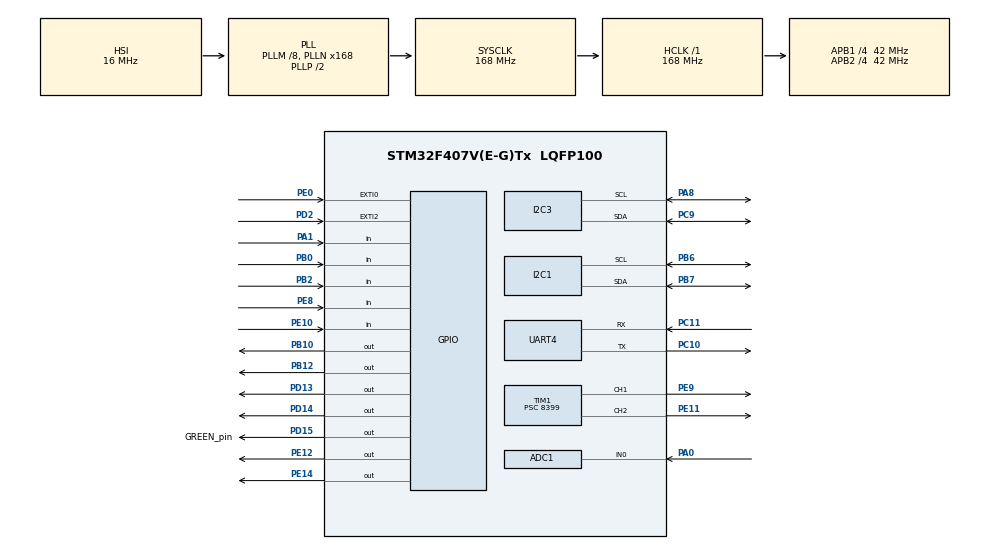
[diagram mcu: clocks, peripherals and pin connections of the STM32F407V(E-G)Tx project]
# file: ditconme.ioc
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ADC1.Channel-0\#ChannelRegularConversion=ADC_CHANNEL_0
ADC1.ContinuousConvMode=ENABLE
ADC1.NbrOfConversionFlag=1
ADC1.Rank-0\#ChannelRegularConversion=1
ADC1.SamplingTime-0\#ChannelRegularConversion=ADC_SAMPLETIME_144CYCLES
ADC1.master=1
Mcu.Family=STM32F4
Mcu.Name=STM32F407V(E-G)Tx
Mcu.Package=LQFP100
NVIC.ADC_IRQn=true\:0\:0\:false\:false\:true\:true\:true
NVIC.EXTI0_IRQn=true\:1\:0\:true\:false\:true\:true\:true
NVIC.EXTI2_IRQn=true\:2\:0\:true\:false\:true\:true\:true
NVIC.PriorityGroup=NVIC_PRIORITYGROUP_4
NVIC.UART4_IRQn=true\:0\:0\:false\:false\:true\:true\:true
PA0-WKUP.Signal=ADCx_IN0
PA1.Signal=GPIO_Input
PA13.Mode=Serial_Wire
PA13.Signal=SYS_JTMS-SWDIO
PA14.Mode=Serial_Wire
PA14.Signal=SYS_JTCK-SWCLK
PA8.Mode=I2C
PA8.Signal=I2C3_SCL
PB0.GPIO_Mode=GPIO_MODE_INPUT
PB0.GPIO_PuPd=GPIO_PULLUP
PB0.Signal=GPIO_Input
PB10.GPIO_ModeDefaultOutputPP=GPIO_MODE_OUTPUT_PP
PB10.GPIO_PuPd=GPIO_NOPULL
PB10.GPIO_Speed=GPIO_SPEED_FREQ_LOW
PB10.PinState=GPIO_PIN_SET
PB10.Signal=GPIO_Output
PB12.GPIO_ModeDefaultOutputPP=GPIO_MODE_OUTPUT_PP
PB12.GPIO_PuPd=GPIO_NOPULL
PB12.GPIO_Speed=GPIO_SPEED_FREQ_LOW
PB12.PinState=GPIO_PIN_SET
PB12.Signal=GPIO_Output
PB2.GPIO_Mode=GPIO_MODE_INPUT
PB2.GPIO_PuPd=GPIO_PULLUP
PB2.Signal=GPIO_Input
PB6.Mode=I2C
PB6.Signal=I2C1_SCL
PB7.Mode=I2C
PB7.Signal=I2C1_SDA
PC10.Mode=Asynchronous
PC10.Signal=UART4_TX
PC11.Mode=Asynchronous
PC11.Signal=UART4_RX
PC9.Mode=I2C
PC9.Signal=I2C3_SDA
PD13.Signal=GPIO_Output
PD14.Signal=GPIO_Output
PD15.GPIO_Label=GREEN_pin
PD15.Signal=GPIO_Output
PD2.GPIO_PuPd=GPIO_PULLDOWN
PD2.Signal=GPXTI2
PE0.Signal=GPXTI0
PE10.GPIO_Mode=GPIO_MODE_INPUT
PE10.GPIO_PuPd=GPIO_PULLUP
PE10.Signal=GPIO_Input
PE11.Signal=S_TIM1_CH2
PE12.GPIO_ModeDefaultOutputPP=GPIO_MODE_OUTPUT_PP
PE12.GPIO_PuPd=GPIO_NOPULL
PE12.GPIO_Speed=GPIO_SPEED_FREQ_LOW
PE12.PinState=GPIO_PIN_SET
PE12.Signal=GPIO_Output
PE14.GPIO_ModeDefaultOutputPP=GPIO_MODE_OUTPUT_PP
PE14.GPIO_PuPd=GPIO_NOPULL
PE14.GPIO_Speed=GPIO_SPEED_FREQ_LOW
PE14.PinState=GPIO_PIN_SET
PE14.Signal=GPIO_Output
PE8.GPIO_Mode=GPIO_MODE_INPUT
PE8.GPIO_PuPd=GPIO_PULLUP
PE8.Signal=GPIO_Input
PE9.Signal=S_TIM1_CH1
PH0-OSC_IN.Mode=HSE-External-Oscillator
PH0-OSC_IN.Signal=RCC_OSC_IN
PH1-OSC_OUT.Mode=HSE-External-Oscillator
PH1-OSC_OUT.Signal=RCC_OSC_OUT
ProjectManager.HeapSize=0x200
ProjectManager.StackSize=0x400
ProjectManager.TargetToolchain=MDK-ARM V5
RCC.48MHZClocksFreq_Value=84000000
RCC.AHBFreq_Value=168000000
RCC.APB1CLKDivider=RCC_HCLK_DIV4
RCC.APB1Freq_Value=42000000
RCC.APB1TimFreq_Value=84000000
RCC.APB2CLKDivider=RCC_HCLK_DIV4
RCC.APB2Freq_Value=42000000
RCC.APB2TimFreq_Value=84000000
RCC.CortexFreq_Value=168000000
RCC.HCLKFreq_Value=168000000
RCC.HSE_VALUE=8000000
RCC.HSI_VALUE=16000000
RCC.LSE_VALUE=32768
RCC.PLLM=8
RCC.PLLN=168
RCC.SYSCLKFreq_VALUE=168000000
RCC.SYSCLKSource=RCC_SYSCLKSOURCE_PLLCLK
RCC.VCOOutputFreq_Value=336000000
SH.ADCx_IN0.0=ADC1_IN0,IN0
SH.S_TIM1_CH1.0=TIM1_CH1,PWM Generation1 CH1
SH.S_TIM1_CH2.0=TIM1_CH2,PWM Generation2 CH2
TIM1.Channel-PWM\ Generation1\ CH1=TIM_CHANNEL_1
TIM1.Channel-PWM\ Generation2\ CH2=TIM_CHANNEL_2
TIM1.Period=199
TIM1.Prescaler=8399
UART4.VirtualMode=Asynchronous
VP_TIM1_VS_ClockSourceINT.Mode=Internal
board=custom

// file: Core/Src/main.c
/* USER CODE BEGIN Header */
/**
  ******************************************************************************
  * @file           : main.c
  * @brief          : Main program body
  ******************************************************************************
  * @attention
  *
  * <h2><center>&copy; Copyright (c) 2024 STMicroelectronics.
  * All rights reserved.</center></h2>
  *
  * This software component is licensed by ST under BSD 3-Clause license,
  * the "License"; You may not use this file except in compliance with the
  * License. You may obtain a copy of the License at:
  *                        opensource.org/licenses/BSD-3-Clause
  *
  ******************************************************************************
  */
/* USER CODE END Header */
#include "main.h"

/* USER CODE BEGIN Includes */
#include "stdio.h"
#include "string.h"
#define device_id 0x27<<1
int DHT11_check = 1; // Kiem tra, khoi tao qua trinh doc, setup = 1
uint8_t do_am_byte1, do_am_byte2, temperature_byte1, temperature_byte2; // Luu tru du lieu doc tu DHT11
uint16_t sum; //, temperature, humidity, temperature_sau_dau_phay, humidity_sau_dau_phay; // temperature, humidity co 16 byte theo datasheet
uint8_t test=0; // Bien luu trang thai kiem tra
int temperature, humidity, temperature_sau_dau_phay, humidity_sau_dau_phay;
char lcd_buffer [16];
//int dem=0;
uint8_t check;
uint8_t cnt=0;
// Khai bao cho LCD
uint16_t ADC_val=0;
uint8_t dem=0, check_esp=0;
uint8_t dem1=0;
uint8_t dung=0;
uint8_t check=0;
uint8_t check_new=0;
char mang[10];
char matkhau[10] = {1,2,5,4};
char matkhau_moi[10];
volatile uint8_t kiemtra=0;
char hi[30];
/* USER CODE END Includes */

ADC_HandleTypeDef hadc1;

I2C_HandleTypeDef hi2c1;
I2C_HandleTypeDef hi2c3;

TIM_HandleTypeDef htim1;

UART_HandleTypeDef huart4;

void SystemClock_Config(void);
static void MX_GPIO_Init(void);
static void MX_ADC1_Init(void);
static void MX_I2C1_Init(void);
static void MX_UART4_Init(void);
static void MX_I2C3_Init(void);
static void MX_TIM1_Init(void);
/* USER CODE BEGIN PFP */
uint8_t send_servo(uint8_t goc) {
    if (goc > 180) goc = 180;  // Gi?i h?n góc t?i da
    float xung = 0.5 + (2.5 - 0.5) * ((float)goc / 180.0);  // Tính th?i gian xung (ms)
    float duty = (xung / 20.0) * 200.0;  // Chuy?n d?i sang duty cycle, 200 là giá tr? max c?a Timer
    return (uint8_t)(duty + 0.5);  // Làm tròn tru?c khi ép ki?u
}
/* USER CODE END PFP */

/* USER CODE BEGIN 0 */
void delay_us(uint32_t n){
	volatile uint32_t delay = 24*n;
	volatile uint32_t delayy;
	for(delayy=0; delayy<delay; delayy++);
}

void delay_ms(uint32_t n){
	volatile uint32_t delay;
	volatile uint32_t delayy;
//	for(delayy=0; delayy<delay; delay++);

	for(delayy = 0;delayy<n;delayy++){for(volatile uint32_t dl = 0; dl < 24000; dl++);}
}
GPIO_InitTypeDef GPIO_InitStruct;
void Set_pin_out(){
  GPIO_InitStruct.Pin = GPIO_PIN_1;
  GPIO_InitStruct.Mode = GPIO_MODE_OUTPUT_PP;
	GPIO_InitStruct.Speed = GPIO_SPEED_FREQ_LOW;
  HAL_GPIO_Init(GPIOA, &GPIO_InitStruct);
}
void Set_pin_in(){
  GPIO_InitStruct.Pin = GPIO_PIN_1;
  GPIO_InitStruct.Mode = GPIO_MODE_INPUT;
  GPIO_InitStruct.Pull = GPIO_NOPULL;
  HAL_GPIO_Init(GPIOA, &GPIO_InitStruct);
}
void DHT11_start(void){
	Set_pin_out();
	HAL_GPIO_WritePin(GPIOA,GPIO_PIN_1,0); //Dua tin hieu xg muc thap
	delay_ms(18);
	Set_pin_in();
}
void check_reponse(void){
	test=0;
	delay_us(40);
	if(HAL_GPIO_ReadPin(GPIOA,GPIO_PIN_1) == 0){
		delay_us(80);
		if(HAL_GPIO_ReadPin(GPIOA,GPIO_PIN_1) == 1){
			test=1;
		}
	}
	while(HAL_GPIO_ReadPin(GPIOA,GPIO_PIN_1) == 1); // Cho tin hieu ve muc thap
}
uint8_t read_data ()
{
	uint8_t i=0,j;
	for (j=0;j<8;j++)
	{
		while ((HAL_GPIO_ReadPin (GPIOA, GPIO_PIN_1)) == 0);   // Cho muc cao
		delay_us (40);
//		if ((HAL_GPIO_ReadPin (GPIOA, GPIO_PIN_1)) == 0)
//		{
//			i&= ~(1<<(7-j));
//		}
//		else i|= (1<<(7-j));  // Neu pin cao thi set 1,
		if ((HAL_GPIO_ReadPin (GPIOA, GPIO_PIN_1)) == 1){
			i|= (1<<(7-j));
		}
		while ((HAL_GPIO_ReadPin (GPIOA, GPIO_PIN_1)));  //
	}
	return i;
}

// Code cho LCD i2c

void lcd_i2c_send_cmd(uint8_t data){
	uint8_t buf[4] = {(data&0xf0)|0x0c , (data&0xf0)|0x08, (data<<4)|0x0c, (data<<4)|0x08};
	HAL_I2C_Master_Transmit(&hi2c1,device_id,buf,sizeof(buf), 10);
	HAL_I2C_Master_Transmit(&hi2c3,device_id,buf,sizeof(buf), 10);
}
void lcd_i2c_send_cmd1(uint8_t data){
	uint8_t buf[4] = {(data&0xf0)|0x0c , (data&0xf0)|0x08, (data<<4)|0x0c, (data<<4)|0x08};
	HAL_I2C_Master_Transmit(&hi2c3,device_id,buf,sizeof(buf), 10);
}

void lcd_init(){
	lcd_i2c_send_cmd(0x33);
	lcd_i2c_send_cmd(0x32);
	lcd_i2c_send_cmd(0x28);
	lcd_i2c_send_cmd(0x0c);
	lcd_i2c_send_cmd(0x06);
	lcd_i2c_send_cmd(0x01); // Day la lenh xoa man hinh
	//lcd_i2c_send_cmd(0x08); // Bat sang LCD
	lcd_i2c_send_cmd1(0x33);
	lcd_i2c_send_cmd1(0x32);
	lcd_i2c_send_cmd1(0x28);
	lcd_i2c_send_cmd1(0x0c);
	lcd_i2c_send_cmd1(0x06);
	lcd_i2c_send_cmd1(0x01);
	delay_ms(15);
}

void lcd_i2c_send_data(uint8_t data){
	uint8_t buf[4] = {(data & 0xF0) | 0x0D, (data & 0xF0) | 0x09, (data << 4) | 0x0D, (data << 4) | 0x09};
	HAL_I2C_Master_Transmit(&hi2c1, device_id, buf, sizeof(buf), 10);
	delay_ms(2);
}

void lcd_i2c_send_data1(uint8_t data){
	uint8_t buf[4] = {(data & 0xF0) | 0x0D, (data & 0xF0) | 0x09, (data << 4) | 0x0D, (data << 4) | 0x09};
	HAL_I2C_Master_Transmit(&hi2c3,device_id,buf,sizeof(buf), 10);
	delay_ms(2);
}

void lcd_i2c_clear(){
	lcd_i2c_send_cmd(0x01);
	delay_ms(5);
}

void lcd_i2c_clear1(){
	lcd_i2c_send_cmd1(0x01);
	delay_ms(5);
}

void lcd_i2c_set_cs(int x, int y){
	if(x==0){
		lcd_i2c_send_cmd(0x80 + y);
	}else
	if(x==1){
		lcd_i2c_send_cmd(0xC0 + y);
	}
}

void lcd_i2c_set_cs1(int x, int y){
	if(x==0){
		lcd_i2c_send_cmd1(0x80 + y);
	}else
	if(x==1){
		lcd_i2c_send_cmd1(0xC0 + y);
	}
}

void lcd_i2c_send_string(char *string){
	for(int i=0; i<strlen(string); i++){
		lcd_i2c_send_data(string[i]);
	}
}

void lcd_i2c_send_string1(char *string){
	for(int i=0; i<strlen(string); i++){
		lcd_i2c_send_data1(string[i]);
	}
}

void lcd_i2c_send_num(int num){
	char buff[8];
	sprintf(buff, "%d", num);
	lcd_i2c_send_string(buff);
}

void lcd_i2c_send_num1(int num){
	char buff[8];
	sprintf(buff, "%d", num);
	lcd_i2c_send_string1(buff);
}

void lcd_i2c_backlight_on() {
    uint8_t data = 0x08; // B?t backlight
    HAL_I2C_Master_Transmit(&hi2c1, device_id, &data, 1, 10);
}

void lcd_i2c_backlight_off() {
    uint8_t data = 0x00; // B?t backlight
    HAL_I2C_Master_Transmit(&hi2c1, device_id, &data, 1, 10);
}

// KEYPAD

void kiemtra_matkhau(void);
void doi_matkhau(void);
void test_keypad(){
	HAL_GPIO_WritePin(GPIOE, GPIO_PIN_12, GPIO_PIN_RESET);
	// Kiem tra cot 1
	if(HAL_GPIO_ReadPin(GPIOB, GPIO_PIN_0) == 0){
		HAL_Delay(10);
		while(HAL_GPIO_ReadPin(GPIOB, GPIO_PIN_0) == 0);
		mang[dem]=1;
		sprintf(hi, "%d", mang[dem]);
		lcd_i2c_set_cs1(1,dem);
		lcd_i2c_send_string1(hi);
		delay_ms(200);
		lcd_i2c_set_cs1(1,dem);
		lcd_i2c_send_string1("*");
		dem++;
	}
	if(HAL_GPIO_ReadPin(GPIOB, GPIO_PIN_2) == 0){
		HAL_Delay(10);
		while(HAL_GPIO_ReadPin(GPIOB, GPIO_PIN_2) == 0);
		mang[dem]=4;
		sprintf(hi, "%d", mang[dem]);
		lcd_i2c_set_cs1(1,dem);
		lcd_i2c_send_string1(hi);
		delay_ms(200);
		lcd_i2c_set_cs1(1,dem);
		lcd_i2c_send_string1("*");
		dem++;
	}
	if(HAL_GPIO_ReadPin(GPIOE, GPIO_PIN_8) == 0){
		HAL_Delay(10);
		while(HAL_GPIO_ReadPin(GPIOE, GPIO_PIN_8) == 0);
		mang[dem]=7;
		sprintf(hi, "%d", mang[dem]);
		lcd_i2c_set_cs1(1,dem);
		lcd_i2c_send_string1(hi);
		delay_ms(200);
		lcd_i2c_set_cs1(1,dem);
		lcd_i2c_send_string1("*");
		dem++;
	}
	if(HAL_GPIO_ReadPin(GPIOE, GPIO_PIN_10) == 0){
		HAL_Delay(10);
		while(HAL_GPIO_ReadPin(GPIOE, GPIO_PIN_10) == 0);
		if (dem > 0) {
			dem--;
      mang[dem] = '\0';  // Xóa ký t? cu?i trong m?ng

//            HD44780_SetCursor(dem, 1);  // Di chuy?n con tr?
//            HD44780_PrintStr(" ");  // Xóa ký t? trên màn hình
//            HD44780_SetCursor(dem, 1);  // Ð?t con tr? l?i
			lcd_i2c_set_cs1(1,dem);
			lcd_i2c_send_string1(" ");
			lcd_i2c_set_cs1(1,dem);
     }
	}
	HAL_GPIO_WritePin(GPIOE, GPIO_PIN_12, 1);

	// Kiem tra cot 2
	HAL_GPIO_WritePin(GPIOE, GPIO_PIN_14, 0);
	if(HAL_GPIO_ReadPin(GPIOB, GPIO_PIN_0) == 0){
		HAL_Delay(10);
		while(HAL_GPIO_ReadPin(GPIOB, GPIO_PIN_0) == 0);
		mang[dem]=2;
		sprintf(hi, "%d", mang[dem]);
		lcd_i2c_set_cs1(1,dem);
		lcd_i2c_send_string1(hi);
		delay_ms(200);
		lcd_i2c_set_cs1(1,dem);
		lcd_i2c_send_string1("*");
		dem++;
	}
	if(HAL_GPIO_ReadPin(GPIOB, GPIO_PIN_2) == 0){
		HAL_Delay(10);
		while(HAL_GPIO_ReadPin(GPIOB, GPIO_PIN_2) == 0);
		mang[dem]=5;
		sprintf(hi, "%d", mang[dem]);
		lcd_i2c_set_cs1(1,dem);
		lcd_i2c_send_string1(hi);
		delay_ms(200);
		lcd_i2c_set_cs1(1,dem);
		lcd_i2c_send_string1("*");
		dem++;
	}
	if(HAL_GPIO_ReadPin(GPIOE, GPIO_PIN_8) == 0){
		HAL_Delay(10);
		while(HAL_GPIO_ReadPin(GPIOE, GPIO_PIN_8) == 0);
		mang[dem]=8;
		sprintf(hi, "%d", mang[dem]);
		lcd_i2c_set_cs1(1,dem);
		lcd_i2c_send_string1(hi);
		delay_ms(200);
		lcd_i2c_set_cs1(1,dem);
		lcd_i2c_send_string1("*");
		dem++;
	}
	if(HAL_GPIO_ReadPin(GPIOE, GPIO_PIN_10) == 0){
		HAL_Delay(10);
		while(HAL_GPIO_ReadPin(GPIOE, GPIO_PIN_8) == 0);
		mang[dem]=0;
		sprintf(hi, "%d", mang[dem]);
		lcd_i2c_set_cs1(1,dem);
		lcd_i2c_send_string1(hi);
		delay_ms(200);
		lcd_i2c_set_cs1(1,dem);
		lcd_i2c_send_string1("*");
		dem++;
	}
	HAL_GPIO_WritePin(GPIOE, GPIO_PIN_14, 1);

	// Kiem tra cot 3
	HAL_GPIO_WritePin(GPIOB, GPIO_PIN_10, 0);
	if(HAL_GPIO_ReadPin(GPIOB, GPIO_PIN_0) == 0){
		HAL_Delay(10);
		while(HAL_GPIO_ReadPin(GPIOB, GPIO_PIN_0) == 0);
		mang[dem]=3;
		sprintf(hi, "%d", mang[dem]);
		lcd_i2c_set_cs(1,dem);
		lcd_i2c_send_string1(hi);
		delay_ms(200);
		lcd_i2c_set_cs1(1,dem);
		lcd_i2c_send_string1("*");
		dem++;
	}
	if(HAL_GPIO_ReadPin(GPIOB, GPIO_PIN_2) == 0){
		HAL_Delay(10);
		while(HAL_GPIO_ReadPin(GPIOB, GPIO_PIN_2) == 0);
		mang[dem]=6;
		sprintf(hi, "%d", mang[dem]);
		lcd_i2c_set_cs(1,dem);
		lcd_i2c_send_string1(hi);
		delay_ms(200);
		lcd_i2c_set_cs1(1,dem);
		lcd_i2c_send_string1("*");
		dem++;
	}
	if(HAL_GPIO_ReadPin(GPIOE, GPIO_PIN_8) == 0){
		HAL_Delay(10);
		while(HAL_GPIO_ReadPin(GPIOE, GPIO_PIN_8) == 0);
		mang[dem]=9;
		sprintf(hi, "%d", mang[dem]);
		lcd_i2c_set_cs(1,dem);
		lcd_i2c_send_string1(hi);
		delay_ms(200);
		lcd_i2c_set_cs1(1,dem);
		lcd_i2c_send_string1("*");
		dem++;
	}
	if(HAL_GPIO_ReadPin(GPIOE, GPIO_PIN_10) == 0){
		HAL_Delay(10);
		while(HAL_GPIO_ReadPin(GPIOE, GPIO_PIN_8) == 0);
		kiemtra_matkhau();
	}
	HAL_GPIO_WritePin(GPIOB, GPIO_PIN_10, 1);

	// Kiem tra cot 4
	HAL_GPIO_WritePin(GPIOB, GPIO_PIN_12, 0);
	if(HAL_GPIO_ReadPin(GPIOE, GPIO_PIN_10) == 0){
		HAL_Delay(10);
		while(HAL_GPIO_ReadPin(GPIOE, GPIO_PIN_10) == 0);
		__HAL_TIM_SET_COMPARE(&htim1, TIM_CHANNEL_1, send_servo(180));
		delay_ms(600);
	}
	if(HAL_GPIO_ReadPin(GPIOB, GPIO_PIN_0) == 0){
		HAL_Delay(10);
		while(HAL_GPIO_ReadPin(GPIOB, GPIO_PIN_0) == 0);
		doi_matkhau();
	}
	HAL_GPIO_WritePin(GPIOB, GPIO_PIN_12, 1);

}

void kiemtra_matkhau(){
    check = 0;
    char vc[20];
    lcd_i2c_clear1();
		lcd_i2c_send_string1("HAY NHAP PASS:");

    if (kiemtra <= 3) {
        for (int i = 0; i < 10; i++) {
            if (mang[i] != matkhau[i]) {
                check++;
                break;
            }
        }
        if (check != 0) {
            kiemtra++;
						lcd_i2c_set_cs1(0,0);
						lcd_i2c_send_string1("Sai mat khau");
            sprintf(vc, "Ban con %d co hoi", 4 - kiemtra);
						lcd_i2c_set_cs1(0,1);
						lcd_i2c_send_string1(vc);
            HAL_GPIO_WritePin(GPIOD,GPIO_PIN_14,GPIO_PIN_RESET);
            dem = 0;
            memset(mang, 0, sizeof(mang));
            HAL_Delay(100);
						lcd_i2c_clear1();
						lcd_i2c_set_cs1(0,0);
						lcd_i2c_send_string1("Nhap lai mat khau");
						delay_ms(500);
						lcd_i2c_clear1();
						lcd_i2c_send_string1("HAY NHAP PASS:");
        } else {
            kiemtra = 0;
						lcd_i2c_clear1();
						lcd_i2c_set_cs1(0,0);
						lcd_i2c_send_string1("Dung mat khau");

            dem = 0;
            memset(mang, 0, sizeof(mang));

            delay_ms(200);  // Hi?n th? thông báo m?t lúc tru?c khi xóa
						lcd_i2c_clear1();
						lcd_i2c_set_cs1(0,0);
						lcd_i2c_send_string1("OPEN THE DOOR");
						__HAL_TIM_SET_COMPARE(&htim1, TIM_CHANNEL_1, send_servo(180));
            delay_ms(700);
						HAL_GPIO_WritePin(GPIOD,GPIO_PIN_14,GPIO_PIN_SET);
						__HAL_TIM_SET_COMPARE(&htim1, TIM_CHANNEL_1, send_servo(0));
						lcd_i2c_set_cs1(1, 1);
						lcd_i2c_send_string1("     WELCOME     ");
						delay_ms(1200);
						lcd_i2c_clear1();
						lcd_i2c_send_string1("HAY NHAP PASS:");
        }
    }
}

void doi_matkhau() {
    char matkhau_nhap[10] = {0};
    char matkhau_moi[10] = {0};
    int check = 0;

    lcd_i2c_clear1();
    lcd_i2c_send_string1("Let's change pass");
    delay_ms(1000);
    lcd_i2c_clear1();

    // Bu?c 1: Ki?m tra m?t kh?u cu
    for (int lan = 1; lan <= 3; lan++) {
        lcd_i2c_send_string1("Nhap mat khau:");

        memset(mang, 0, sizeof(mang)); // Xóa d? li?u cu
        test_keypad(); // Ch? nh?p m?t kh?u

        if (strlen(mang) == 0) { // N?u chua nh?p
            lcd_i2c_send_string1("Chua nhap mat khau");
            delay_ms(1000);
            continue; // Quay l?i vòng l?p
        }

        if (strcmp(mang, matkhau) == 0) { // So sánh m?t kh?u
            check = 1; // Ðúng m?t kh?u
            break;
        } else {
            lcd_i2c_clear1();
            lcd_i2c_send_string1("Sai mat khau");
            char thong_bao[20];
            sprintf(thong_bao, "Con %d co hoi", 3 - lan);
            lcd_i2c_send_string1(thong_bao);
            delay_ms(1000);
        }
    }

    if (check == 0) {
        lcd_i2c_send_string1("Sai qua nhieu!");
        delay_ms(1000);
        return; // K?t thúc n?u nh?p sai quá 3 l?n
    }

    // Bu?c 2: Nh?p m?t kh?u m?i
    lcd_i2c_clear1();
    lcd_i2c_send_string1("Nhap mat khau moi:");
    memset(mang, 0, sizeof(mang));
    test_keypad();
    strncpy(matkhau_moi, mang, 10);

    // Luu m?t kh?u m?i
    strncpy(matkhau, matkhau_moi, 10);

    // Thông báo d?i m?t kh?u thành công
    lcd_i2c_clear1();
    lcd_i2c_send_string1("Da doi mk!");
    delay_ms(1000);
    lcd_i2c_clear1();
}

/* USER CODE END 0 */

int main(void)
{

  /* MCU Configuration--------------------------------------------------------*/

  /* Reset of all peripherals, Initializes the Flash interface and the Systick. */
  HAL_Init();

  /* Configure the system clock */
  SystemClock_Config();

  /* Initialize all configured peripherals */
  MX_GPIO_Init();
  MX_ADC1_Init();
  MX_I2C1_Init();
  MX_UART4_Init();
  MX_I2C3_Init();
  MX_TIM1_Init();
  /* USER CODE BEGIN 2 */
	HAL_TIM_PWM_Start(&htim1, TIM_CHANNEL_1);  // B?t d?u PWM trên chân 1 c?a TIM1
	HAL_TIM_PWM_Start(&htim1, TIM_CHANNEL_2);  // B?t d?u PWM trên chân 1 c?a TIM1
	//HAL_GPIO_WritePin(GPIOD, GPIO_PIN_13, 0);
	char buffer[100],buffer_1[50], buffer_t[17], buffer_h[17];
	lcd_init();
	lcd_i2c_set_cs(0,0);
	lcd_i2c_send_string("HELLO WORLD");
	lcd_i2c_send_string1("HAY NHAP PASS:");
	//lcd_i2c_clear();
  /* USER CODE END 2 */

  /* Infinite loop */
  /* USER CODE BEGIN WHILE */
  while (1)
  {
//		if(HAL_GPIO_ReadPin(GPIOA, GPIO_PIN_15) == 1){
//			while(HAL_GPIO_ReadPin(GPIOA, GPIO_PIN_15));
//			delay_ms(100);
//			__HAL_TIM_SET_COMPARE(&htim1, TIM_CHANNEL_1, send_servo(180));
//			delay_ms(600);
//		}
//		else{
//			delay_ms(200);
//			__HAL_TIM_SET_COMPARE(&htim1, TIM_CHANNEL_1, send_servo(0));
//			delay_ms(600);
//		}

		test_keypad();
		if(DHT11_check==1){
			DHT11_start();
			check_reponse();
			do_am_byte1 = read_data();
			do_am_byte2 = read_data();
			temperature_byte1 = read_data();
			temperature_byte2 = read_data();
			temperature = temperature_byte1;
			temperature_sau_dau_phay = temperature_byte2;
			humidity = do_am_byte1;
			humidity_sau_dau_phay = do_am_byte2;
			sum = read_data();
//			lcd_i2c_clear();
			lcd_i2c_set_cs(0,0);
			sprintf(buffer,"Temp: %d.%d",temperature,temperature_sau_dau_phay);
			lcd_i2c_send_string(buffer);
			sprintf(buffer_t,"%d.%d",temperature,temperature_sau_dau_phay);
			HAL_UART_Transmit(&huart4,(uint8_t *)buffer_t,sizeof(buffer_t),50);
			delay_ms(200);
			lcd_i2c_set_cs(1,0);
			sprintf(buffer_1,"humidity: %d.%d",humidity,humidity_sau_dau_phay);
			lcd_i2c_send_string(buffer_1);
			sprintf(buffer_h,"%d.%d",humidity,humidity_sau_dau_phay);
			HAL_UART_Transmit(&huart4,(uint8_t *)buffer_h,sizeof(buffer_h),50);
			delay_ms(200);
		}
		DHT11_check++;
		if(DHT11_check == 5){
			DHT11_check = 1;
		}

		//Code cam bien quang tro
		HAL_ADC_Start(&hadc1);
		HAL_ADC_PollForConversion(&hadc1, 30);
		ADC_val = HAL_ADC_GetValue(&hadc1);
		HAL_ADC_Stop(&hadc1);
		HAL_GPIO_TogglePin(GPIOD, GREEN_pin_Pin);
		delay_ms(50);
		if(ADC_val <= 2700){
			delay_ms(600);
			__HAL_TIM_SET_COMPARE(&htim1, TIM_CHANNEL_2, send_servo(180));
		}
		else{
			delay_ms(600);
			__HAL_TIM_SET_COMPARE(&htim1, TIM_CHANNEL_2, send_servo(0));
		}
	}
}

    /* USER CODE END WHILE */

    /* USER CODE BEGIN 3 */
void HAL_GPIO_EXTI_Callback(uint16_t GPIO_Pin)
{
  if(GPIO_Pin == GPIO_PIN_0){
		delay_ms(200);
		cnt++;
		if(cnt%2==0){
			HAL_GPIO_TogglePin(GPIOD, GPIO_PIN_13);
		}
	}
	if(GPIO_Pin == GPIO_PIN_2){
		delay_ms(200);
		check_esp++;
		if(check_esp%2!=0){
			__HAL_TIM_SET_COMPARE(&htim1, TIM_CHANNEL_1, send_servo(0));
			delay_ms(600);
		}else{
			__HAL_TIM_SET_COMPARE(&htim1, TIM_CHANNEL_1, send_servo(180));
			delay_ms(600);
		}
	}

  /* USER CODE END 3 */
}

void SystemClock_Config(void)
{
  RCC_OscInitTypeDef RCC_OscInitStruct = {0};
  RCC_ClkInitTypeDef RCC_ClkInitStruct = {0};

  /** Configure the main internal regulator output voltage
  */
  __HAL_RCC_PWR_CLK_ENABLE();
  __HAL_PWR_VOLTAGESCALING_CONFIG(PWR_REGULATOR_VOLTAGE_SCALE1);
  /** Initializes the RCC Oscillators according to the specified parameters
  * in the RCC_OscInitTypeDef structure.
  */
  RCC_OscInitStruct.OscillatorType = RCC_OSCILLATORTYPE_HSI;
  RCC_OscInitStruct.HSIState = RCC_HSI_ON;
  RCC_OscInitStruct.HSICalibrationValue = RCC_HSICALIBRATION_DEFAULT;
  RCC_OscInitStruct.PLL.PLLState = RCC_PLL_ON;
  RCC_OscInitStruct.PLL.PLLSource = RCC_PLLSOURCE_HSI;
  RCC_OscInitStruct.PLL.PLLM = 8;
  RCC_OscInitStruct.PLL.PLLN = 168;
  RCC_OscInitStruct.PLL.PLLP = RCC_PLLP_DIV2;
  RCC_OscInitStruct.PLL.PLLQ = 4;
  if (HAL_RCC_OscConfig(&RCC_OscInitStruct) != HAL_OK)
  {
    Error_Handler();
  }
  /** Initializes the CPU, AHB and APB buses clocks
  */
  RCC_ClkInitStruct.ClockType = RCC_CLOCKTYPE_HCLK|RCC_CLOCKTYPE_SYSCLK
                              |RCC_CLOCKTYPE_PCLK1|RCC_CLOCKTYPE_PCLK2;
  RCC_ClkInitStruct.SYSCLKSource = RCC_SYSCLKSOURCE_PLLCLK;
  RCC_ClkInitStruct.AHBCLKDivider = RCC_SYSCLK_DIV1;
  RCC_ClkInitStruct.APB1CLKDivider = RCC_HCLK_DIV4;
  RCC_ClkInitStruct.APB2CLKDivider = RCC_HCLK_DIV4;

  if (HAL_RCC_ClockConfig(&RCC_ClkInitStruct, FLASH_LATENCY_5) != HAL_OK)
  {
    Error_Handler();
  }
}

static void MX_ADC1_Init(void)
{

  ADC_ChannelConfTypeDef sConfig = {0};

  /** Configure the global features of the ADC (Clock, Resolution, Data Alignment and number of conversion)
  */
  hadc1.Instance = ADC1;
  hadc1.Init.ClockPrescaler = ADC_CLOCK_SYNC_PCLK_DIV2;
  hadc1.Init.Resolution = ADC_RESOLUTION_12B;
  hadc1.Init.ScanConvMode = DISABLE;
  hadc1.Init.ContinuousConvMode = ENABLE;
  hadc1.Init.DiscontinuousConvMode = DISABLE;
  hadc1.Init.ExternalTrigConvEdge = ADC_EXTERNALTRIGCONVEDGE_NONE;
  hadc1.Init.ExternalTrigConv = ADC_SOFTWARE_START;
  hadc1.Init.DataAlign = ADC_DATAALIGN_RIGHT;
  hadc1.Init.NbrOfConversion = 1;
  hadc1.Init.DMAContinuousRequests = DISABLE;
  hadc1.Init.EOCSelection = ADC_EOC_SINGLE_CONV;
  if (HAL_ADC_Init(&hadc1) != HAL_OK)
  {
    Error_Handler();
  }
  /** Configure for the selected ADC regular channel its corresponding rank in the sequencer and its sample time.
  */
  sConfig.Channel = ADC_CHANNEL_0;
  sConfig.Rank = 1;
  sConfig.SamplingTime = ADC_SAMPLETIME_144CYCLES;
  if (HAL_ADC_ConfigChannel(&hadc1, &sConfig) != HAL_OK)
  {
    Error_Handler();
  }

}

static void MX_I2C1_Init(void)
{

  hi2c1.Instance = I2C1;
  hi2c1.Init.ClockSpeed = 100000;
  hi2c1.Init.DutyCycle = I2C_DUTYCYCLE_2;
  hi2c1.Init.OwnAddress1 = 0;
  hi2c1.Init.AddressingMode = I2C_ADDRESSINGMODE_7BIT;
  hi2c1.Init.DualAddressMode = I2C_DUALADDRESS_DISABLE;
  hi2c1.Init.OwnAddress2 = 0;
  hi2c1.Init.GeneralCallMode = I2C_GENERALCALL_DISABLE;
  hi2c1.Init.NoStretchMode = I2C_NOSTRETCH_DISABLE;
  if (HAL_I2C_Init(&hi2c1) != HAL_OK)
  {
    Error_Handler();
  }

}

static void MX_I2C3_Init(void)
{

  hi2c3.Instance = I2C3;
  hi2c3.Init.ClockSpeed = 100000;
  hi2c3.Init.DutyCycle = I2C_DUTYCYCLE_2;
  hi2c3.Init.OwnAddress1 = 0;
  hi2c3.Init.AddressingMode = I2C_ADDRESSINGMODE_7BIT;
  hi2c3.Init.DualAddressMode = I2C_DUALADDRESS_DISABLE;
  hi2c3.Init.OwnAddress2 = 0;
  hi2c3.Init.GeneralCallMode = I2C_GENERALCALL_DISABLE;
  hi2c3.Init.NoStretchMode = I2C_NOSTRETCH_DISABLE;
  if (HAL_I2C_Init(&hi2c3) != HAL_OK)
  {
    Error_Handler();
  }

}

static void MX_TIM1_Init(void)
{

  TIM_ClockConfigTypeDef sClockSourceConfig = {0};
  TIM_MasterConfigTypeDef sMasterConfig = {0};
  TIM_OC_InitTypeDef sConfigOC = {0};
  TIM_BreakDeadTimeConfigTypeDef sBreakDeadTimeConfig = {0};

  htim1.Instance = TIM1;
  htim1.Init.Prescaler = 8399;
  htim1.Init.CounterMode = TIM_COUNTERMODE_UP;
  htim1.Init.Period = 199;
  htim1.Init.ClockDivision = TIM_CLOCKDIVISION_DIV1;
  htim1.Init.RepetitionCounter = 0;
  htim1.Init.AutoReloadPreload = TIM_AUTORELOAD_PRELOAD_DISABLE;
  if (HAL_TIM_Base_Init(&htim1) != HAL_OK)
  {
    Error_Handler();
  }
  sClockSourceConfig.ClockSource = TIM_CLOCKSOURCE_INTERNAL;
  if (HAL_TIM_ConfigClockSource(&htim1, &sClockSourceConfig) != HAL_OK)
  {
    Error_Handler();
  }
  if (HAL_TIM_PWM_Init(&htim1) != HAL_OK)
  {
    Error_Handler();
  }
  sMasterConfig.MasterOutputTrigger = TIM_TRGO_RESET;
  sMasterConfig.MasterSlaveMode = TIM_MASTERSLAVEMODE_DISABLE;
  if (HAL_TIMEx_MasterConfigSynchronization(&htim1, &sMasterConfig) != HAL_OK)
  {
    Error_Handler();
  }
  sConfigOC.OCMode = TIM_OCMODE_PWM1;
  sConfigOC.Pulse = 0;
  sConfigOC.OCPolarity = TIM_OCPOLARITY_HIGH;
  sConfigOC.OCNPolarity = TIM_OCNPOLARITY_HIGH;
  sConfigOC.OCFastMode = TIM_OCFAST_DISABLE;
  sConfigOC.OCIdleState = TIM_OCIDLESTATE_RESET;
  sConfigOC.OCNIdleState = TIM_OCNIDLESTATE_RESET;
  if (HAL_TIM_PWM_ConfigChannel(&htim1, &sConfigOC, TIM_CHANNEL_1) != HAL_OK)
  {
    Error_Handler();
  }
  if (HAL_TIM_PWM_ConfigChannel(&htim1, &sConfigOC, TIM_CHANNEL_2) != HAL_OK)
  {
    Error_Handler();
  }
  sBreakDeadTimeConfig.OffStateRunMode = TIM_OSSR_DISABLE;
  sBreakDeadTimeConfig.OffStateIDLEMode = TIM_OSSI_DISABLE;
  sBreakDeadTimeConfig.LockLevel = TIM_LOCKLEVEL_OFF;
  sBreakDeadTimeConfig.DeadTime = 0;
  sBreakDeadTimeConfig.BreakState = TIM_BREAK_DISABLE;
  sBreakDeadTimeConfig.BreakPolarity = TIM_BREAKPOLARITY_HIGH;
  sBreakDeadTimeConfig.AutomaticOutput = TIM_AUTOMATICOUTPUT_DISABLE;
  if (HAL_TIMEx_ConfigBreakDeadTime(&htim1, &sBreakDeadTimeConfig) != HAL_OK)
  {
    Error_Handler();
  }
  HAL_TIM_MspPostInit(&htim1);

}

static void MX_UART4_Init(void)
{

  huart4.Instance = UART4;
  huart4.Init.BaudRate = 115200;
  huart4.Init.WordLength = UART_WORDLENGTH_8B;
  huart4.Init.StopBits = UART_STOPBITS_1;
  huart4.Init.Parity = UART_PARITY_NONE;
  huart4.Init.Mode = UART_MODE_TX_RX;
  huart4.Init.HwFlowCtl = UART_HWCONTROL_NONE;
  huart4.Init.OverSampling = UART_OVERSAMPLING_16;
  if (HAL_UART_Init(&huart4) != HAL_OK)
  {
    Error_Handler();
  }

}

static void MX_GPIO_Init(void)
{
  GPIO_InitTypeDef GPIO_InitStruct = {0};

  /* GPIO Ports Clock Enable */
  __HAL_RCC_GPIOH_CLK_ENABLE();
  __HAL_RCC_GPIOA_CLK_ENABLE();
  __HAL_RCC_GPIOB_CLK_ENABLE();
  __HAL_RCC_GPIOE_CLK_ENABLE();
  __HAL_RCC_GPIOD_CLK_ENABLE();
  __HAL_RCC_GPIOC_CLK_ENABLE();

  /*Configure GPIO pin Output Level */
  HAL_GPIO_WritePin(GPIOE, GPIO_PIN_12|GPIO_PIN_14, GPIO_PIN_SET);

  /*Configure GPIO pin Output Level */
  HAL_GPIO_WritePin(GPIOB, GPIO_PIN_10|GPIO_PIN_12, GPIO_PIN_SET);

  /*Configure GPIO pin Output Level */
  HAL_GPIO_WritePin(GPIOD, GPIO_PIN_13|GPIO_PIN_14|GREEN_pin_Pin, GPIO_PIN_RESET);

  /*Configure GPIO pin : PA1 */
  GPIO_InitStruct.Pin = GPIO_PIN_1;
  GPIO_InitStruct.Mode = GPIO_MODE_INPUT;
  GPIO_InitStruct.Pull = GPIO_NOPULL;
  HAL_GPIO_Init(GPIOA, &GPIO_InitStruct);

  /*Configure GPIO pins : PB0 PB2 */
  GPIO_InitStruct.Pin = GPIO_PIN_0|GPIO_PIN_2;
  GPIO_InitStruct.Mode = GPIO_MODE_INPUT;
  GPIO_InitStruct.Pull = GPIO_PULLUP;
  HAL_GPIO_Init(GPIOB, &GPIO_InitStruct);

  /*Configure GPIO pins : PE8 PE10 */
  GPIO_InitStruct.Pin = GPIO_PIN_8|GPIO_PIN_10;
  GPIO_InitStruct.Mode = GPIO_MODE_INPUT;
  GPIO_InitStruct.Pull = GPIO_PULLUP;
  HAL_GPIO_Init(GPIOE, &GPIO_InitStruct);

  /*Configure GPIO pins : PE12 PE14 */
  GPIO_InitStruct.Pin = GPIO_PIN_12|GPIO_PIN_14;
  GPIO_InitStruct.Mode = GPIO_MODE_OUTPUT_PP;
  GPIO_InitStruct.Pull = GPIO_NOPULL;
  GPIO_InitStruct.Speed = GPIO_SPEED_FREQ_LOW;
  HAL_GPIO_Init(GPIOE, &GPIO_InitStruct);

  /*Configure GPIO pins : PB10 PB12 */
  GPIO_InitStruct.Pin = GPIO_PIN_10|GPIO_PIN_12;
  GPIO_InitStruct.Mode = GPIO_MODE_OUTPUT_PP;
  GPIO_InitStruct.Pull = GPIO_NOPULL;
  GPIO_InitStruct.Speed = GPIO_SPEED_FREQ_LOW;
  HAL_GPIO_Init(GPIOB, &GPIO_InitStruct);

  /*Configure GPIO pins : PD13 PD14 GREEN_pin_Pin */
  GPIO_InitStruct.Pin = GPIO_PIN_13|GPIO_PIN_14|GREEN_pin_Pin;
  GPIO_InitStruct.Mode = GPIO_MODE_OUTPUT_PP;
  GPIO_InitStruct.Pull = GPIO_NOPULL;
  GPIO_InitStruct.Speed = GPIO_SPEED_FREQ_LOW;
  HAL_GPIO_Init(GPIOD, &GPIO_InitStruct);

  /*Configure GPIO pin : PD2 */
  GPIO_InitStruct.Pin = GPIO_PIN_2;
  GPIO_InitStruct.Mode = GPIO_MODE_IT_RISING;
  GPIO_InitStruct.Pull = GPIO_PULLDOWN;
  HAL_GPIO_Init(GPIOD, &GPIO_InitStruct);

  /*Configure GPIO pin : PE0 */
  GPIO_InitStruct.Pin = GPIO_PIN_0;
  GPIO_InitStruct.Mode = GPIO_MODE_IT_RISING;
  GPIO_InitStruct.Pull = GPIO_NOPULL;
  HAL_GPIO_Init(GPIOE, &GPIO_InitStruct);

  /* EXTI interrupt init*/
  HAL_NVIC_SetPriority(EXTI0_IRQn, 1, 0);
  HAL_NVIC_EnableIRQ(EXTI0_IRQn);

  HAL_NVIC_SetPriority(EXTI2_IRQn, 2, 0);
  HAL_NVIC_EnableIRQ(EXTI2_IRQn);

}

void Error_Handler(void)
{
}

/************************ (C) COPYRIGHT STMicroelectronics *****END OF FILE****/
